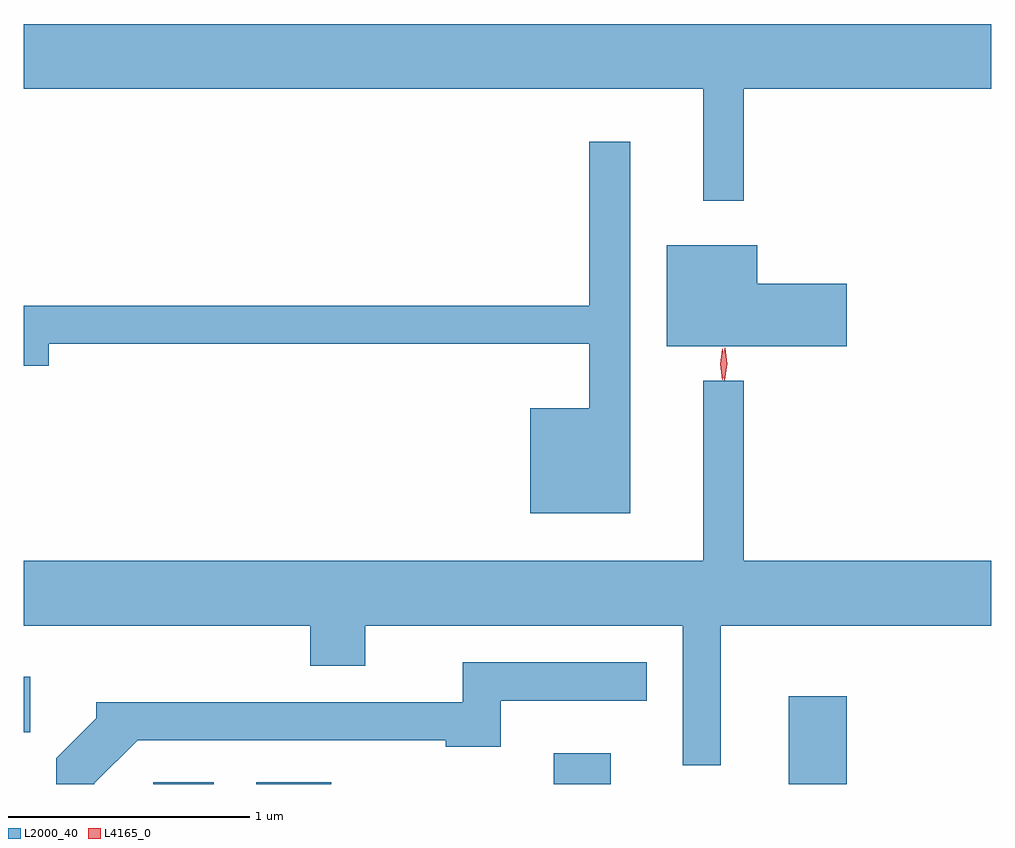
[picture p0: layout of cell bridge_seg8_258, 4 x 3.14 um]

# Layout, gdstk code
import gdstk
lib = gdstk.Library(unit=1e-6, precision=1e-09)
def R(c, l, rs):  # rectangles x0, y0, x1, y1
    for r in rs: c.add(gdstk.rectangle(r[:2], r[2:], *l))
def P(c, l, *ps):  # polygons
    for p in ps: c.add(gdstk.Polygon(p, *l))
L2000_40 = (2000, 40)
L4165_0 = (4165, 0)

bridge_seg8_258 = lib.new_cell('bridge_seg8_258')
R(bridge_seg8_258, L2000_40, [(1225.686,1824.661,1225.938,1824.669), (1226.113,1824.661,1226.424,1824.669), (1227.343,1824.661,1227.579,1824.789), (1228.316,1824.661,1228.554,1825.024), (1225.152,1824.876,1225.179,1825.104)])
P(bridge_seg8_258, L2000_40, [(1228.129,1827.536),(1229.152,1827.536),(1229.152,1827.804),(1225.152,1827.804),(1225.152,1827.536),(1227.961,1827.536),(1227.961,1827.073),(1228.129,1827.073)],
  [(1227.659,1827.318),(1227.491,1827.318),(1227.491,1826.639),(1225.152,1826.639),(1225.152,1826.391),(1225.254,1826.391),(1225.254,1826.481),(1227.491,1826.481),(1227.491,1826.214),(1227.246,1826.214),(1227.246,1825.781),(1227.659,1825.781)],
  [(1228.554,1826.729),(1228.184,1826.729),(1228.184,1826.889),(1227.811,1826.889),(1227.811,1826.471),(1228.554,1826.471)],
  [(1228.034,1825.316),(1229.152,1825.316),(1229.152,1825.584),(1228.129,1825.584),(1228.129,1826.328),(1227.961,1826.328),(1227.961,1825.584),(1225.152,1825.584),(1225.152,1825.316),(1226.336,1825.316),(1226.336,1825.151),(1226.564,1825.151),(1226.564,1825.316),(1227.876,1825.316),(1227.876,1824.738),(1228.034,1824.738)],
  [(1225.444,1824.664),(1225.622,1824.841),(1226.896,1824.841),(1226.896,1824.816),(1227.124,1824.816),(1227.124,1825.006),(1227.728,1825.006),(1227.728,1825.164),(1226.966,1825.164),(1226.966,1824.999),(1225.451,1824.999),(1225.451,1824.932),(1225.286,1824.767),(1225.286,1824.661),(1225.444,1824.661)])
P(bridge_seg8_258, L4165_0, [(1228.049,1826.33),(1228.049,1826.33),(1228.04,1826.398),(1228.05,1826.465),(1228.051,1826.466),(1228.052,1826.465),(1228.06,1826.398),(1228.05,1826.33)],
  [(1228.041,1826.333),(1228.031,1826.396),(1228.04,1826.459),(1228.041,1826.46),(1228.042,1826.459),(1228.051,1826.396),(1228.042,1826.333),(1228.042,1826.333)])

lib.write_gds('bridge_seg8_258.gds')
